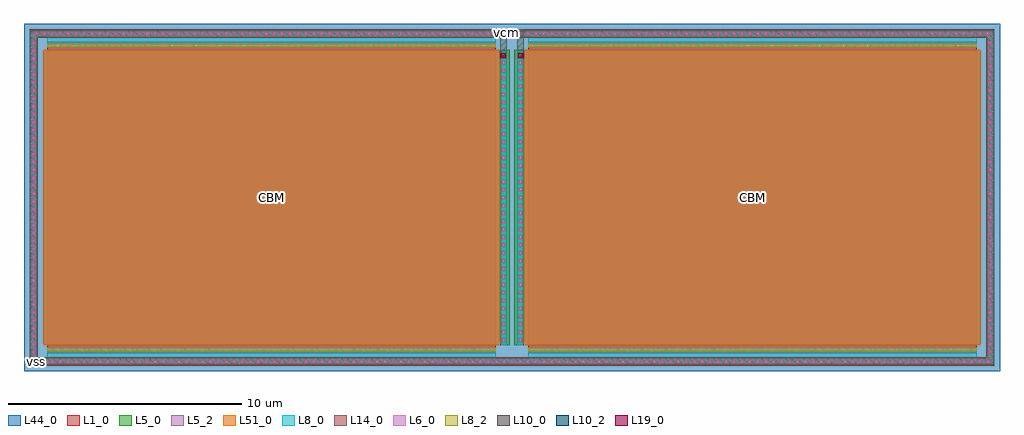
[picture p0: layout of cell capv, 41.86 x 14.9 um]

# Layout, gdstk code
from math import pi, radians
import gdstk
lib = gdstk.Library(unit=1e-6, precision=1e-09)
def R(c, l, rs):  # rectangles x0, y0, x1, y1
    for r in rs: c.add(gdstk.rectangle(r[:2], r[2:], *l))
def A(c, l, x, y, w, h, nx, ny, dx, dy):  # array of equal rectangles
    R(c, l, [(x+i*dx, y+j*dy, x+i*dx+w, y+j*dy+h) for i in range(nx) for j in range(ny)])
L1_0 = (1, 0)
L5_0 = (5, 0)
L5_2 = (5, 2)
L6_0 = (6, 0)
L8_0 = (8, 0)
L8_2 = (8, 2)
L10_0 = (10, 0)
L10_2 = (10, 2)
L14_0 = (14, 0)
L19_0 = (19, 0)
L44_0 = (44, 0)
L51_0 = (51, 0)

nmoshv_3 = lib.new_cell('nmosHV$3')
R(nmoshv_3, L1_0, [(0,0,0.3,0.3), (0,0,13.34,19.24), (13.04,0,13.34,0.3)])
R(nmoshv_3, L5_0, [(0.34,-0.18,13,19.42)])
R(nmoshv_3, L5_2, [(0.34,-0.18,13,19.42)])
A(nmoshv_3, L6_0, 0.07, 0.41, 0.16, 0.16, 1, 7, 0, 0.345)
A(nmoshv_3, L6_0, 13.11, 0.41, 0.16, 0.16, 1, 7, 0, 0.345)
A(nmoshv_3, L6_0, 0.07, 2.82, 0.16, 0.16, 1, 8, 0, 0.345)
A(nmoshv_3, L6_0, 13.11, 2.82, 0.16, 0.16, 1, 8, 0, 0.345)
A(nmoshv_3, L6_0, 0.07, 5.575, 0.16, 0.16, 1, 8, 0, 0.345)
A(nmoshv_3, L6_0, 13.11, 5.575, 0.16, 0.16, 1, 8, 0, 0.345)
A(nmoshv_3, L6_0, 0.07, 8.33, 0.16, 0.16, 1, 8, 0, 0.345)
A(nmoshv_3, L6_0, 13.11, 8.33, 0.16, 0.16, 1, 8, 0, 0.345)
A(nmoshv_3, L6_0, 0.07, 11.085, 0.16, 0.16, 1, 8, 0, 0.345)
A(nmoshv_3, L6_0, 13.11, 11.085, 0.16, 0.16, 1, 8, 0, 0.345)
A(nmoshv_3, L6_0, 0.07, 13.84, 0.16, 0.16, 1, 8, 0, 0.345)
A(nmoshv_3, L6_0, 13.11, 13.84, 0.16, 0.16, 1, 8, 0, 0.345)
A(nmoshv_3, L6_0, 0.07, 16.595, 0.16, 0.16, 1, 8, 0, 0.345)
A(nmoshv_3, L6_0, 13.11, 16.595, 0.16, 0.16, 1, 8, 0, 0.345)
R(nmoshv_3, L6_0, [(0.07,0.07,0.23,0.23), (13.11,0.07,13.27,0.23)])
R(nmoshv_3, L8_0, [(0.07,0,0.23,19.24), (13.11,0,13.27,19.24)])
R(nmoshv_3, L8_2, [(0.07,0,0.23,19.24), (13.11,0,13.27,19.24)])
R(nmoshv_3, L44_0, [(-0.27,-0.52,13.61,19.76)])
R(nmoshv_3, L51_0, [(0.34,-0.18,13,19.42)])
nmoshv_3.add(gdstk.Label('nmosHV', (6.67,9.62), layer=63, texttype=0))
nmoshv_3.add(gdstk.Label('nmosHV', (6.67,9.62), layer=51, texttype=0))

capv = lib.new_cell('capv')
R(capv, L1_0, [(-0.73,-0.51,40.59,-0.21), (-0.73,-0.51,-0.43,13.85), (40.29,-0.51,40.59,13.85), (-0.73,13.55,40.59,13.85)])
R(capv, L5_0, [(19.34,0.34,19.84,13), (20.02,0.34,20.52,13)])
A(capv, L6_0, -0.55, -0.44, 0.16, 0.16, 121, 2, 0.34, 14.06)
A(capv, L6_0, -0.66, -0.04, 0.16, 0.16, 1, 40, 0, 0.34)
A(capv, L6_0, 40.36, -0.04, 0.16, 0.16, 1, 40, 0, 0.34)
A(capv, L6_0, 19.49, 0.47, 0.16, 0.16, 1, 37, 0, 0.34)
A(capv, L6_0, 20.21, 0.47, 0.16, 0.16, 1, 37, 0, 0.34)
R(capv, L8_0, [(-0.71,-0.49,40.57,-0.23), (-0.71,-0.49,-0.45,13.83), (40.31,-0.49,40.57,13.83), (0,-0.23,19.24,0.23), (20.62,-0.23,39.86,0.23), (19.44,0.36,19.7,12.98), (20.16,0.36,20.42,12.98), (0,13.11,19.24,13.57), (20.62,13.11,39.86,13.57), (-0.71,13.57,40.57,13.83)])
R(capv, L8_2, [(-0.71,-0.49,-0.21,-0.23)])
R(capv, L10_0, [(19.425,12.615,19.715,13.88), (20.145,12.615,20.435,13.88), (19.425,13.59,20.435,13.88)])
R(capv, L10_2, [(19.425,13.59,19.925,13.88)])
R(capv, L14_0, [(-0.76,-0.54,40.62,-0.18), (-0.76,-0.54,-0.4,13.88), (40.26,-0.54,40.62,13.88), (-0.76,13.52,40.62,13.88)])
R(capv, L19_0, [(19.475,12.665,19.665,12.855), (20.195,12.665,20.385,12.855)])
R(capv, L44_0, [(-1,-0.78,40.86,14.12)])
capv.add(gdstk.Reference(nmoshv_3, (0,13.34), rotation=3*pi/2))
capv.add(gdstk.Reference(nmoshv_3, (39.86,13.34), rotation=3*pi/2, x_reflection=True))
capv.add(gdstk.Label('vss', (-0.46,-0.36), layer=8, texttype=25))
capv.add(gdstk.Label('vcm', (19.675,13.735), layer=10, texttype=25))
capv.add(gdstk.Label('CBM', (9.62,6.67), layer=63, texttype=0))
capv.add(gdstk.Label('CBM', (30.24,6.67), layer=63, texttype=0))

lib.write_gds('capv.gds')
